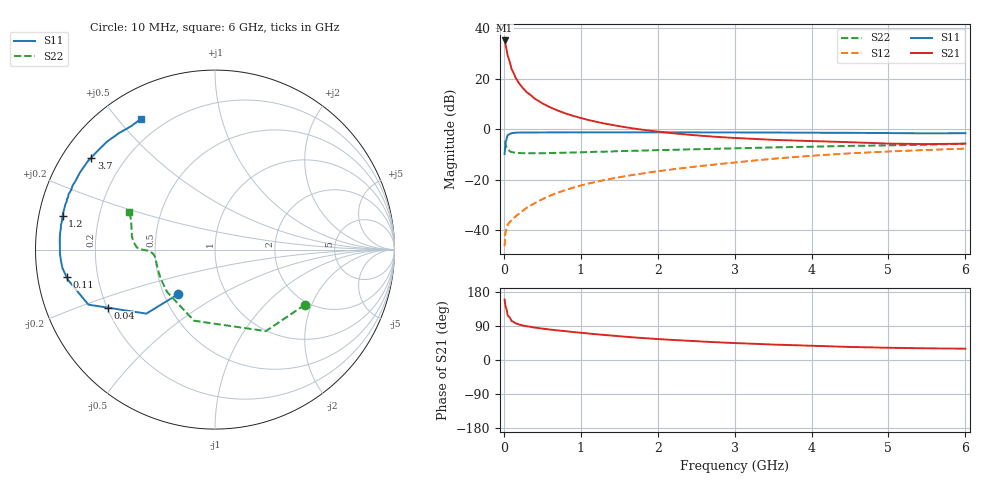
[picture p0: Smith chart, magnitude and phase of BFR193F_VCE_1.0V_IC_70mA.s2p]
! Infineon Technologies  Discrete & RF Semiconductors
! BFR193F
! VCE =  1.0 V,  IC =  70 mA
! Common Emitter S-Parameters:  Jan 2017
# GHz  S  MA  R  50
!  f  S11  S21  S12  S22
! GHz  MAG  ANG  MAG  ANG  MAG  ANG  MAG  ANG
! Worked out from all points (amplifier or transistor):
!   77 points, 10 MHz to 6 GHz, reference 50 ohm
!   highest |S21| = 35.2 dB at 10 MHz (marker M1)
!   |S21| within 3 dB of that: start of sweep to 31.09 MHz
!   unconditionally stable (mu >= 1): start of sweep to 10.51 MHz; 273.1 MHz to end of sweep
!   at 130 MHz: K = 0.74, MSG = 28.6 dB, |S12| = -35.2 dB
!   at 2.2 GHz: K = 1.13, MAG = 4.9 dB, |S12| = -15.9 dB
!   at 6 GHz: K = 1.03, MAG = -0.1 dB, |S12| = -7.7 dB
!   S11 on the Smith chart (normalised r, x): 10 MHz: 0.59, -0.33; 40 MHz: 0.20, -0.24; 110 MHz: 0.09, -0.09; 1.2 GHz: 0.07, +0.11; 3.7 GHz: 0.08, +0.33; 6 GHz: 0.12, +0.58
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0.01  0.3222 -129.6  57.8 159.8  0.0048 69.7  0.588 -31.5
0.02  0.5229 -137.0  49.29 143.0  0.0087 62.4  0.5351 -58.1
0.04  0.6795 -151.6  34.78 129.2  0.0113 48.5  0.4158 -87.8
0.05  0.7691 -156.5  28.84 117.4  0.0128 43.8  0.4131 -106.5
0.1  0.8366 -168.4  15.8 102.9  0.0158 44.5  0.3562 -138.5
0.11  0.8401 -169.4  14.78 102.1  0.0163 45.4  0.3523 -141.0
0.15  0.8562 -173.1  10.74 97.2  0.0185 48.6  0.3437 -151.5
0.2  0.8604 -175.7  8.082 93.4  0.0214 53.7  0.3379 -158.0
0.25  0.8629 -177.8  6.479 91.0  0.0245 58.5  0.3357 -162.9
0.3  0.8641 -179.1  5.415 89.0  0.0279 60.7  0.3357 -165.5
0.4  0.8642 178.6  4.065 85.5  0.034 65.3  0.3343 -169.5
0.5  0.8664 176.7  3.268 82.9  0.041 68.0  0.335 -171.9
0.7  0.8677 173.6  2.355 78.0  0.0552 70.7  0.3404 -174.5
0.9  0.8692 170.9  1.849 73.8  0.0694 72.3  0.3469 -176.3
1.1  0.8686 168.6  1.529 69.9  0.084 73.1  0.3538 -177.2
1.2  0.8695 167.4  1.409 68.0  0.0906 73.2  0.3573 -177.9
2.1  0.8697 158.4  0.866 54.1  0.1538 71.8  0.389 -179.5
3.1  0.8651 149.2  0.662 44.0  0.2271 68.2  0.4223 179.5
3.7  0.8589 143.4  0.604 39.5  0.2751 64.6  0.4424 177.1
4.1  0.8536 139.3  0.578 37.0  0.305 61.8  0.4546 174.6
5.1  0.8387 128.4  0.518 32.0  0.3676 53.9  0.4819 165.0
6  0.837 119.6  0.518 29.9  0.4137 47.6  0.5202 156.4
